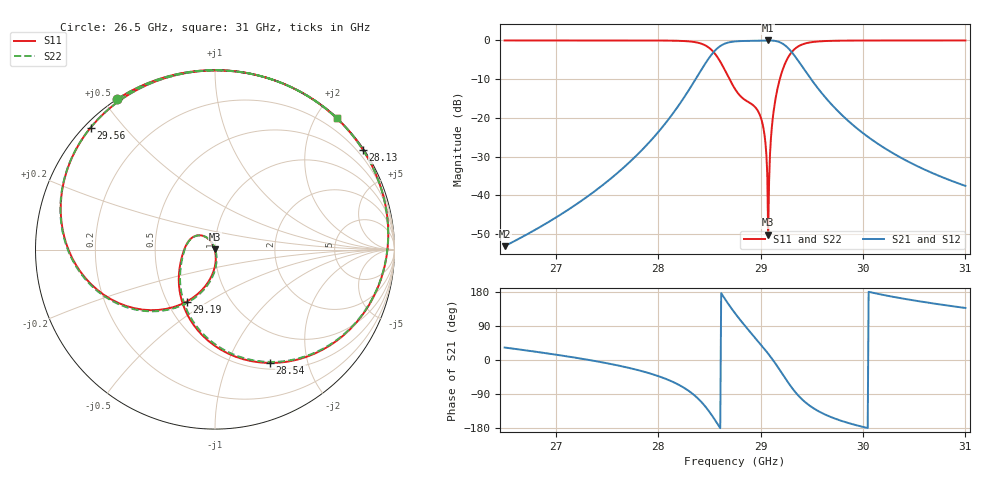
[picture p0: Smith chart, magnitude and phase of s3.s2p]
! Touchstone file from project Ka_PF
! Exported from HFSS 15.0.0
! Variables:
!  AA = 0.34in
!  BB = 0.145in
!  M01 = 0.1627in
!  M11 = 0.2153in
!  M12 = 0.1023in
!  M22 = 0.2389in
!  PL = 0.3in
!  RR = 0.035in
!  TT = 0.04in
!Data is not renormalized
# GHZ S DB
! Modal data exported
! Port[1] = 1:1
! Port[2] = 2:1
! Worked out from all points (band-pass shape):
!   501 points, 26.5 GHz to 31 GHz, reference per port
!   highest |S21| = 0.00 dB at 29.07 GHz (marker M1); lowest = -53.1 dB at 26.5 GHz (marker M2)
!   |S21| within 3 dB of the highest: 28.54 GHz to 29.3 GHz (762 MHz wide, 2.63 % of centre)
!   lowest |S11| = -50.1 dB at 29.07 GHz (marker M3), VSWR 1.01
!   |S11| at or under -10 dB: 28.7 GHz to 29.19 GHz (491.1 MHz wide, 1.7 % of centre)
!   |S22| runs from -50.2 to 0.0 dB; largest |S21 - S12| = 1.1e-14
!   S11 on the Smith chart (normalised r, x): 26.5 GHz: 0.00, +0.54; 28.13 GHz: 0.03, +3.28; 28.54 GHz: 0.58, -1.44; 29.19 GHz: 0.63, -0.41; 29.56 GHz: 0.02, +0.41; 31 GHz: 0.00, +2.28
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26.5  -0.00 123.0  -53.14 33.0  -53.14 33.0  -0.00 123.0
! Gamma ! -0 419.682063865466 -0 419.682050969634
! Port Impedance 262.306403553595 0 262.307135508943 0
27.256  -0.00 93.3  -41.31 3.2  -41.31 3.2  -0.00 93.2
28.003  -0.02 47.2  -23.59 -42.7  -23.59 -42.7  -0.02 47.3
28.129  -0.05 33.9  -19.39 -56.0  -19.39 -56.0  -0.05 34.0
28.381  -0.54 -9.9  -9.32 -99.7  -9.32 -99.7  -0.54 -9.5
28.543  -3.07 -64.1  -2.95 -153.6  -2.95 -153.6  -3.07 -63.0
28.642  -7.19 -105.8  -0.92 165.1  -0.92 165.1  -7.19 -104.0
28.75  -12.53 -147.8  -0.25 123.5  -0.25 123.5  -12.53 -145.3
28.867  -15.69 172.9  -0.12 83.9  -0.12 83.9  -15.69 174.9
28.993  -19.27 133.6  -0.05 43.7  -0.05 43.7  -19.27 133.7
29.038  -24.35 119.8  -0.02 29.0  -0.02 29.0  -24.35 118.1
29.074  -50.15 140.7  -0.00 16.7  -0.00 16.7  -50.15 72.8
29.092  -29.32 -83.2  -0.01 10.4  -0.01 10.4  -29.32 -76.0
29.128  -18.12 -94.2  -0.07 -2.9  -0.07 -2.9  -18.12 -91.5
29.191  -9.65 -118.5  -0.50 -27.8  -0.50 -27.8  -9.65 -117.0
29.263  -4.64 -147.6  -1.83 -57.1  -1.83 -57.1  -4.64 -146.6
29.353  -1.79 -179.5  -4.72 -89.2  -4.72 -89.2  -1.79 -178.9
29.506  -0.41 144.3  -10.48 -125.5  -10.48 -125.5  -0.41 144.7
29.56  -0.26 135.5  -12.37 -134.3  -12.37 -134.3  -0.26 135.8
29.821  -0.04 106.6  -19.94 -163.3  -19.94 -163.3  -0.04 106.7
30.253  -0.01 78.8  -28.50 168.8  -28.50 168.8  -0.01 78.8
31  -0.00 47.3  -37.57 137.3  -37.57 137.3  -0.00 47.3
